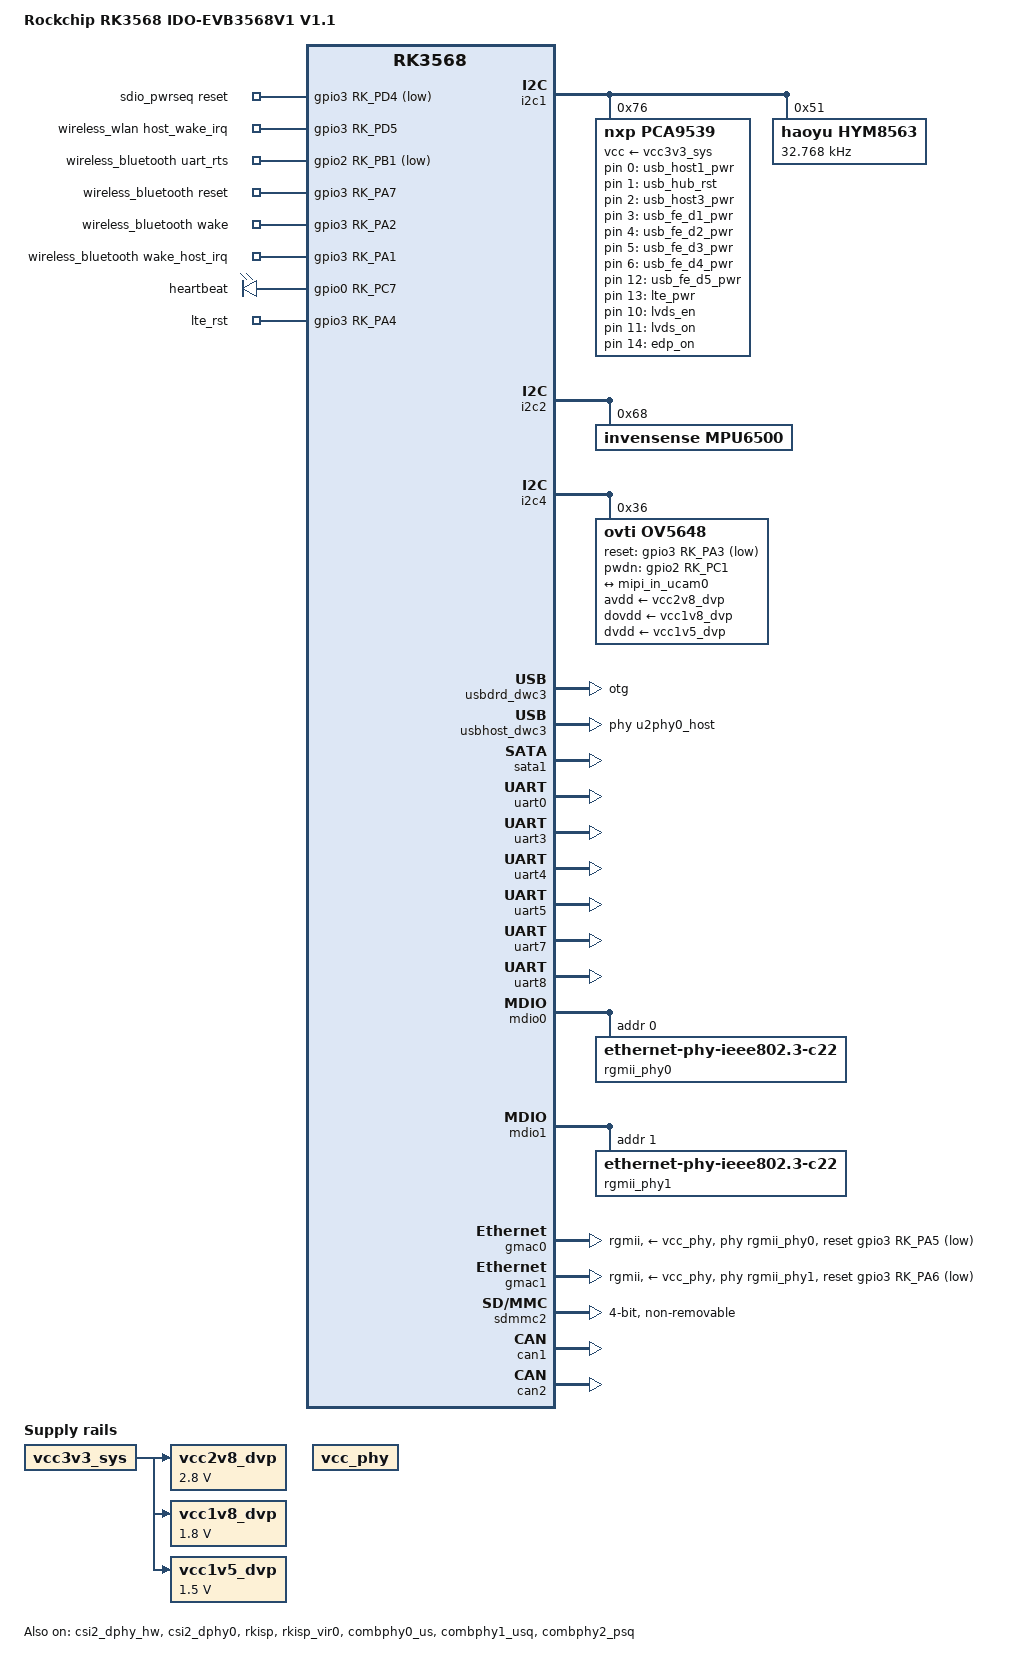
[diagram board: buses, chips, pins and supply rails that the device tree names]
// SPDX-License-Identifier: (GPL-2.0+ OR MIT)
/*
 * Copyright (c) 2020 Rockchip Electronics Co., Ltd.
 *
 */

/dts-v1/;

#include <dt-bindings/display/rockchip_vop.h>
#include "rk3568.dtsi"
#include "ido-som3568.dtsi"
#include "rk3568-linux.dtsi"

/ {
    	model = "Rockchip RK3568 IDO-EVB3568V1 V1.1";
	compatible = "rockchip,ido-rk3568-evb3568v1", "rockchip,rk3568";

	vcc_phy: vcc-phy-regulator {
		compatible = "regulator-fixed";
		regulator-name = "vcc_phy";
		regulator-always-on;
		regulator-boot-on;
	};
	
	vcc2v8_dvp: vcc2v8-sys {
		compatible = "regulator-fixed";
		regulator-name = "vcc2v8_dvp";
		regulator-always-on;
		regulator-boot-on;
		regulator-min-microvolt = <2800000>;
		regulator-max-microvolt = <2800000>;
		vin-supply = <&vcc3v3_sys>;
	};

	vcc1v8_dvp: vcc1v8-dvp {
		compatible = "regulator-fixed";
		regulator-name = "vcc1v8_dvp";
		regulator-always-on;
		regulator-boot-on;
		regulator-min-microvolt = <1800000>;
		regulator-max-microvolt = <1800000>;
		vin-supply = <&vcc3v3_sys>;
	};

	vcc1v5_dvp: vcc1v5-dvp {
		compatible = "regulator-fixed";
		regulator-name = "vcc1v5_dvp";
		regulator-always-on;
		regulator-boot-on;
		regulator-min-microvolt = <1500000>;
		regulator-max-microvolt = <1500000>;
		vin-supply = <&vcc3v3_sys>;
	};

	sdio_pwrseq: sdio-pwrseq {
		compatible = "mmc-pwrseq-simple";
		// clocks = <&rk809 1>;
		// clock-names = "ext_clock";
		pinctrl-names = "default";
		pinctrl-0 = <&wifi_enable_h>;

		/*
		 * On the module itself this is one of these (depending
		 * on the actual card populated):
		 * - SDIO_RESET_L_WL_REG_ON
		 * - PDN (power down when low)
		 */
		post-power-on-delay-ms = <200>;
		reset-gpios = <&gpio3 RK_PD4 GPIO_ACTIVE_LOW>;
		status = "okay";
	};

	wireless_wlan: wireless-wlan {
		compatible = "wlan-platdata";
		rockchip,grf = <&grf>;
		pinctrl-0 = <&wifi_host_wake_irq>;
		WIFI,host_wake_irq = <&gpio3 RK_PD5 GPIO_ACTIVE_HIGH>;
		wifi_chip_type = "ap6335";
		status = "okay";
	};

	wireless_bluetooth: wireless-bluetooth {
		compatible = "bluetooth-platdata";
		clocks = <&hym8563>;
		clock-names = "ext_clock";
		//wifi-bt-power-toggle;
		uart_rts_gpios = <&gpio2 RK_PB1 GPIO_ACTIVE_LOW>;
		pinctrl-names = "default", "rts_gpio";
		pinctrl-0 = <&uart8m0_rtsn>;
		pinctrl-1 = <&uart8_gpios>;
		BT,reset_gpio    = <&gpio3 RK_PA7 GPIO_ACTIVE_HIGH>;
		BT,wake_gpio     = <&gpio3 RK_PA2 GPIO_ACTIVE_HIGH>;
		BT,wake_host_irq = <&gpio3 RK_PA1 GPIO_ACTIVE_HIGH>;
		status = "okay";
	};

    backlight: backlight {
        status = "disabled";
		compatible = "pwm-backlight";
		pwms = <&pwm4 0 25000 0>;
		brightness-levels = <
			  0  20  20  21  21  22  22  23
			 23  24  24  25  25  26  26  27
			 27  28  28  29  29  30  30  31
			 31  32  32  33  33  34  34  35
			 35  36  36  37  37  38  38  39
			 40  41  42  43  44  45  46  47
			 48  49  50  51  52  53  54  55
			 56  57  58  59  60  61  62  63
			 64  65  66  67  68  69  70  71
			 72  73  74  75  76  77  78  79
			 80  81  82  83  84  85  86  87
			 88  89  90  91  92  93  94  95
			 96  97  98  99 100 101 102 103
			104 105 106 107 108 109 110 111
			112 113 114 115 116 117 118 119
			120 121 122 123 124 125 126 127
			128 129 130 131 132 133 134 135
			136 137 138 139 140 141 142 143
			144 145 146 147 148 149 150 151
			152 153 154 155 156 157 158 159
			160 161 162 163 164 165 166 167
			168 169 170 171 172 173 174 175
			176 177 178 179 180 181 182 183
			184 185 186 187 188 189 190 191
			192 193 194 195 196 197 198 199
			200 201 202 203 204 205 206 207
			208 209 210 211 212 213 214 215
			216 217 218 219 220 221 222 223
			224 225 226 227 228 229 230 231
			232 233 234 235 236 237 238 239
			240 241 242 243 244 245 246 247
			248 249 250 251 252 253 254 255
		>;
		default-brightness-level = <200>;
	};

	backlight1: backlight1 {
        status = "disabled";
		compatible = "pwm-backlight";
		pwms = <&pwm5 0 25000 0>;
		brightness-levels = <
			  0  20  20  21  21  22  22  23
			 23  24  24  25  25  26  26  27
			 27  28  28  29  29  30  30  31
			 31  32  32  33  33  34  34  35
			 35  36  36  37  37  38  38  39
			 40  41  42  43  44  45  46  47
			 48  49  50  51  52  53  54  55
			 56  57  58  59  60  61  62  63
			 64  65  66  67  68  69  70  71
			 72  73  74  75  76  77  78  79
			 80  81  82  83  84  85  86  87
			 88  89  90  91  92  93  94  95
			 96  97  98  99 100 101 102 103
			104 105 106 107 108 109 110 111
			112 113 114 115 116 117 118 119
			120 121 122 123 124 125 126 127
			128 129 130 131 132 133 134 135
			136 137 138 139 140 141 142 143
			144 145 146 147 148 149 150 151
			152 153 154 155 156 157 158 159
			160 161 162 163 164 165 166 167
			168 169 170 171 172 173 174 175
			176 177 178 179 180 181 182 183
			184 185 186 187 188 189 190 191
			192 193 194 195 196 197 198 199
			200 201 202 203 204 205 206 207
			208 209 210 211 212 213 214 215
			216 217 218 219 220 221 222 223
			224 225 226 227 228 229 230 231
			232 233 234 235 236 237 238 239
			240 241 242 243 244 245 246 247
			248 249 250 251 252 253 254 255
		>;
		default-brightness-level = <200>;
	};

    leds: leds {
		status = "okay";
		compatible = "gpio-leds";
		pinctrl-names = "default";
		pinctrl-0 =<&leds_gpio>;

		heartbeat {
			gpios = <&gpio0 RK_PC7 GPIO_ACTIVE_HIGH>;
			linux,default-trigger = "heartbeat";
		};

		usb_host1_pwr {
			gpios = <&pca9539 0 GPIO_ACTIVE_HIGH>;
            default-state="on";	
		};

		usb_hub_rst {
			gpios = <&pca9539 1 GPIO_ACTIVE_HIGH>;
            default-state="on";
		};

		usb_host3_pwr {
			gpios = <&pca9539 2 GPIO_ACTIVE_HIGH>;
            default-state="on";	
		};

		usb_fe_d1_pwr {
			gpios = <&pca9539 3 GPIO_ACTIVE_HIGH>;
            default-state="on";	
		};

		usb_fe_d2_pwr {
			gpios = <&pca9539 4 GPIO_ACTIVE_HIGH>;
            default-state="on";	
		};
		
		usb_fe_d3_pwr {
			gpios = <&pca9539 5 GPIO_ACTIVE_HIGH>;
            default-state="on";	
		};

		usb_fe_d4_pwr {
			gpios = <&pca9539 6 GPIO_ACTIVE_HIGH>;
            default-state="on";	
		};

		usb_fe_d5_pwr {
			gpios = <&pca9539 12 GPIO_ACTIVE_HIGH>;
            default-state="on";	
		};

		lte_pwr {
			gpios = <&pca9539 13 GPIO_ACTIVE_HIGH>;
            default-state="on";	
		};

		lte_rst {
			gpios = <&gpio3 RK_PA4 GPIO_ACTIVE_HIGH>;
            default-state="off";	
		};

		lvds_en {
			gpios = <&pca9539 10 GPIO_ACTIVE_HIGH>;
            default-state="on";	
		};

		lvds_on {
			gpios = <&pca9539 11 GPIO_ACTIVE_HIGH>;
            default-state="on";	
		};

		edp_on {
			gpios = <&pca9539 14 GPIO_ACTIVE_HIGH>;
            default-state="on";	
		};
	};
};

&pwm4 {
	status = "disabled";
};

&pwm5 {
	status = "disabled";
};

&csi2_dphy_hw {
	status = "okay";
};

&csi2_dphy0 {
	status = "okay";

	ports {
		#address-cells = <1>;
		#size-cells = <0>;
		port@0 {
			reg = <0>;
			#address-cells = <1>;
			#size-cells = <0>;

			mipi_in_ucam0: endpoint@1 {
				reg = <1>;
				remote-endpoint = <&ucam_out0>;
				data-lanes = <1 2>;
			};

		};
		port@1 {
			reg = <1>;
			#address-cells = <1>;
			#size-cells = <0>;

			csidphy_out: endpoint@0 {
				reg = <0>;
				remote-endpoint = <&isp0_in>;
			};
		};
	};
};

&rkisp {
	status = "okay";
};

&rkisp_mmu {
	status = "okay";
};

&rkisp_vir0 {
	status = "okay";

	port {
		#address-cells = <1>;
		#size-cells = <0>;

		isp0_in: endpoint@0 {
			reg = <0>;
			remote-endpoint = <&csidphy_out>;
		};
	};
};

&i2c1 {
	status = "okay";

	pca9539: pca9539@76 {
		compatible = "nxp,pca9539";
		reg = <0x76>;
		gpio-controller;
		#gpio-cells = <2>;
		interrupt-controller;
		#interrupt-cells = <2>;
        vcc-supply = <&vcc3v3_sys>;
		//interrupt-parent = <&gpio4>;
		//interrupts = <RK_PC4 IRQ_TYPE_EDGE_FALLING>;
		status = "okay";
	};

	hym8563:hym8563@51 {
		compatible = "haoyu,hym8563";
		reg = <0x51>;
		#clock-cells = <0>;
		clock-frequency = <32768>;
		clock-output-names = "hym-xin32k";
		status = "okay";
	};
};

&i2c2 {
	status = "okay";

	mpu6500@68 {
		status = "okay";
		compatible = "invensense,mpu6500";
		reg = <0x68>;
		//irq-gpio = <&gpio3 RK_PD2 IRQ_TYPE_EDGE_RISING>;
		mpu-int_config = <0x10>;
		mpu-level_shifter = <0>;
		mpu-orientation = <0 1 0 1 0 0 0 0 1>;
		orientation-x= <0>;
		orientation-y= <0>;
		orientation-z= <1>;
		mpu-debug = <1>;
	};
};

&i2c4 {
	status = "okay";

	ov5648: ov5648@36 {
		status = "okay";
		compatible = "ovti,ov5648";
		reg = <0x36>;
		clocks = <&cru CLK_CIF_OUT>;
		clock-names = "xvclk";
		avdd-supply = <&vcc2v8_dvp>;
		dovdd-supply = <&vcc1v8_dvp>;
		dvdd-supply = <&vcc1v5_dvp>;
		
		power-domains = <&power RK3568_PD_VI>;
		pinctrl-names = "default";
		pinctrl-0 = <&cif_clk>;
		//reset pin control by hardware,used this pin switch to mipi input
		//1->2LANE(LANE 0&1) FRONT camera, 0->4LANE REAR camera
		reset-gpios = <&gpio3 RK_PA3 GPIO_ACTIVE_LOW>;
		pwdn-gpios = <&gpio2 RK_PC1 GPIO_ACTIVE_HIGH>;
		rockchip,camera-module-index = <0>;
		rockchip,camera-module-facing = "back";
		//rockchip,camera-module-name = "HS5885-BNSM1018-V01";
		//rockchip,camera-module-lens-name = "default";
		//rockchip,camera-module-name = "LMM248";
		//rockchip,camera-module-lens-name = "YXC-M804A2";

		rockchip,camera-module-name = "default";
		rockchip,camera-module-lens-name = "default";
		port {
			ucam_out0: endpoint {
				remote-endpoint = <&mipi_in_ucam0>;
				data-lanes = <1 2>;
			};
		};
	};
};


/*USB3.0 controller*/
&usbdrd_dwc3 {
    dr_mode = "otg";
	extcon = <&usb2phy0>;
	status = "okay";
};

/*USB3.0 OTG PHY*/
&combphy0_us {
	status = "okay";
};

/*USB 3.0 HOST 与 SATA1 复用*/
&usbhost_dwc3 { 
    phys = <&u2phy0_host>; /* 配置 phys 属性只引用 usb 2.0 phy 节点 */ 
    phy-names = "usb2-phy"; 
	maximum-speed = "high-speed"; /* 配置 dwc3 控制器最高支持 high speed */ 
    status = "okay"; 
};

/*配置给 SATA1*/
&combphy1_usq { 
    rockchip,dis-u3otg1-port; /* 配置 dwc3_1 控制器最高支持 high speed */ 
    status = "okay"; 
};

&sata1 {
    status = "okay";
};

/* PCIE */
&combphy2_psq {
	status = "okay";
};

&uart0 {
	status = "okay";
	pinctrl-names = "default";
	pinctrl-0 = <&uart0_xfer>;
};

&uart3 {
	status = "okay";
	pinctrl-names = "default";
	pinctrl-0 = <&uart3m1_xfer>;
};

&uart4 {
	status = "okay";
	pinctrl-names = "default";
	pinctrl-0 = <&uart4m1_xfer>;
};

&uart5 {
	status = "okay";
	pinctrl-names = "default";
	pinctrl-0 = <&uart5m1_xfer>;
};

&uart7 {
	status = "okay";
	pinctrl-names = "default";
	pinctrl-0 = <&uart7m1_xfer>;
};

&uart8 {
	status = "okay";
	pinctrl-names = "default";
	pinctrl-0 = <&uart8m0_xfer &uart8m0_ctsn>;
};

&mdio0 {
	rgmii_phy0: phy@0 {
		compatible = "ethernet-phy-ieee802.3-c22";
		reg = <0x0>;
	};
};

&mdio1 {
	rgmii_phy1: phy@1 {
		compatible = "ethernet-phy-ieee802.3-c22";
		reg = <0x1>;
	};
};

&gmac0 {
	phy-mode = "rgmii";
	//clock_in_out = "output";
	clock_in_out = "input";
	
	snps,reset-gpio = <&gpio3 RK_PA5 GPIO_ACTIVE_LOW>;
	snps,reset-active-low;
	/* Reset time is 20ms, 100ms for rtl8211f */
	snps,reset-delays-us = <0 20000 100000>;

	assigned-clocks = <&cru SCLK_GMAC0_RX_TX>, <&cru SCLK_GMAC0>;
	assigned-clock-parents = <&cru SCLK_GMAC0_RGMII_SPEED>, <&cru CLK_MAC0_2TOP>;
	assigned-clock-rates = <0>, <125000000>;

	pinctrl-names = "default";
	pinctrl-0 = <&gmac0_miim
		     &gmac0_tx_bus2
		     &gmac0_rx_bus2
		     &gmac0_rgmii_clk
		     &gmac0_rgmii_bus>;

	tx_delay = <0x2e>;
	rx_delay = <0x2a>;

	phy-handle = <&rgmii_phy0>;
	phy-supply = <&vcc_phy>;
	status = "okay";	
};

&gmac1 {
	phy-mode = "rgmii";
	//clock_in_out = "output";
	clock_in_out = "input";

	snps,reset-gpio = <&gpio3 RK_PA6 GPIO_ACTIVE_LOW>;
	snps,reset-active-low;
	
	snps,reset-delays-us = <0 20000 100000>;

	assigned-clocks = <&cru SCLK_GMAC1_RX_TX>, <&cru SCLK_GMAC1>;
	assigned-clock-parents = <&cru SCLK_GMAC1_RGMII_SPEED>, <&cru CLK_MAC1_2TOP>;
	assigned-clock-rates = <0>, <125000000>;
	
	pinctrl-names = "default";
	pinctrl-0 = <&gmac1m1_miim
		     &gmac1m1_tx_bus2
		     &gmac1m1_rx_bus2
		     &gmac1m1_rgmii_clk
		     &gmac1m1_rgmii_bus>;

	tx_delay = <0x3d>;
	rx_delay = <0x23>;

	phy-handle = <&rgmii_phy1>;
	phy-supply = <&vcc_phy>;
	status = "okay";
};

&sdmmc2 {
	max-frequency = <150000000>;
	supports-sdio;
	bus-width = <4>;
	disable-wp;
	cap-sd-highspeed;
	cap-sdio-irq;
	keep-power-in-suspend;
	mmc-pwrseq = <&sdio_pwrseq>;
	non-removable;
	pinctrl-names = "default";
	pinctrl-0 = <&sdmmc2m0_bus4 &sdmmc2m0_cmd &sdmmc2m0_clk>;
	sd-uhs-sdr104;
	status = "okay";
};

&can1 {
	assigned-clocks = <&cru CLK_CAN1>;
	assigned-clock-rates = <150000000>;
	pinctrl-names = "default";
	pinctrl-0 = <&can1m0_pins>;
	status = "okay";
};

&can2 {
	assigned-clocks = <&cru CLK_CAN2>;
	assigned-clock-rates = <150000000>;
	pinctrl-names = "default";
	pinctrl-0 = <&can2m0_pins>;
	status = "okay";
};

&rk809_codec {
	spk-ctl-gpios = <&pca9539 8 GPIO_ACTIVE_LOW>;			
	spk-mute-gpios = <&pca9539 9 GPIO_ACTIVE_LOW>;//Speaker mute
	spk-mute-delay-ms = <30>;
};

&pinctrl {
	cam {
		camera_pwr: camera-pwr {
			rockchip,pins =
				/* camera power en */
				<2 RK_PC1 RK_FUNC_GPIO &pcfg_pull_none>;
		};
	};
	headphone {
		hp_det: hp-det {
			rockchip,pins = <3 RK_PC2 RK_FUNC_GPIO &pcfg_pull_down>;
		};
	};

	sdio-pwrseq {
		wifi_enable_h: wifi-enable-h {
			rockchip,pins = <3 RK_PD4 RK_FUNC_GPIO &pcfg_pull_none>;
		};
	};

	wireless-wlan {
		wifi_host_wake_irq: wifi-host-wake-irq {
			rockchip,pins = <3 RK_PD5 RK_FUNC_GPIO &pcfg_pull_down>;
		};
	};

	wireless-bluetooth {
		uart8_gpios: uart8-gpios {
			rockchip,pins = <3 RK_PA7 RK_FUNC_GPIO &pcfg_pull_none>;
		};
	};

	gpio-leds {
		leds_gpio: leds-gpio {
			rockchip,pins =
				<0 RK_PC7 RK_FUNC_GPIO &pcfg_pull_up>;
		};
	};

	goodix_gpio {
		gtxx_gpio: gtxx-gpio {
            rockchip,pins =
                <3 RK_PB3 RK_FUNC_GPIO &pcfg_pull_none>,
                <3 RK_PB4 RK_FUNC_GPIO &pcfg_pull_none>;
        };
	};
};

&pwm7 {
	status = "disabled";
};
